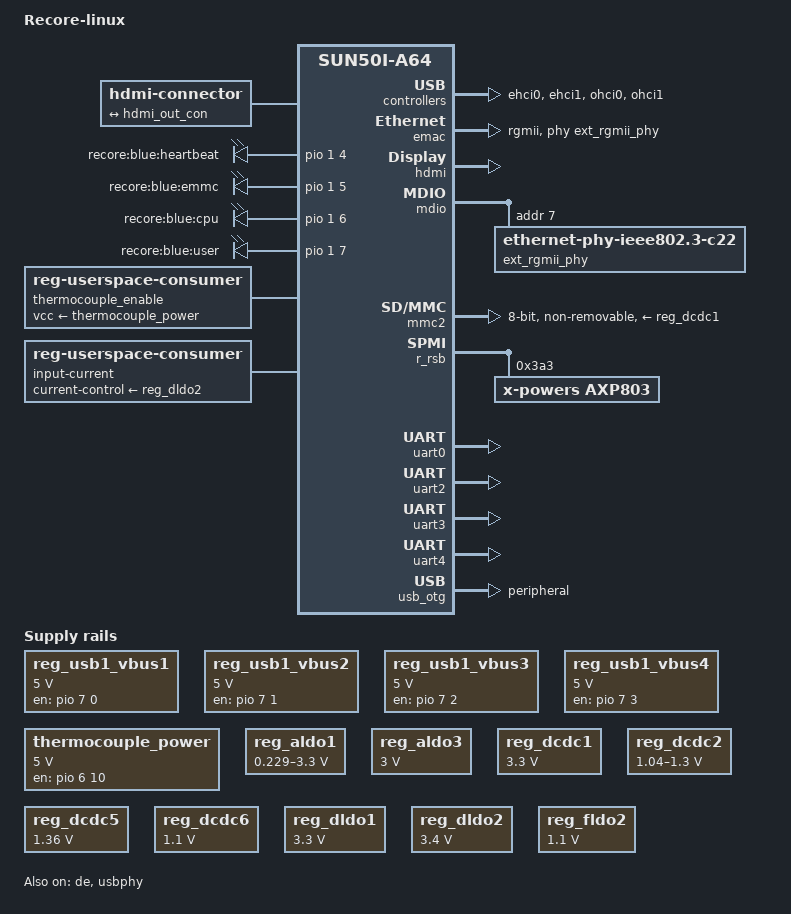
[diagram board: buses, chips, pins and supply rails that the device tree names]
/*
 * Copyright (c) 2016 ARM Ltd.
 *
 * This file is dual-licensed: you can use it either under the terms
 * of the GPL or the X11 license, at your option. Note that this dual
 * licensing only applies to this file, and not this project as a
 * whole.
 *
 *  a) This library is free software; you can redistribute it and/or
 *     modify it under the terms of the GNU General Public License as
 *     published by the Free Software Foundation; either version 2 of the
 *     License, or (at your option) any later version.
 *
 *     This library is distributed in the hope that it will be useful,
 *     but WITHOUT ANY WARRANTY; without even the implied warranty of
 *     MERCHANTABILITY or FITNESS FOR A PARTICULAR PURPOSE.  See the
 *     GNU General Public License for more details.
 *
 * Or, alternatively,
 *
 *  b) Permission is hereby granted, free of charge, to any person
 *     obtaining a copy of this software and associated documentation
 *     files (the "Software"), to deal in the Software without
 *     restriction, including without limitation the rights to use,
 *     copy, modify, merge, publish, distribute, sublicense, and/or
 *     sell copies of the Software, and to permit persons to whom the
 *     Software is furnished to do so, subject to the following
 *     conditions:
 *
 *     The above copyright notice and this permission notice shall be
 *     included in all copies or substantial portions of the Software.
 *
 *     THE SOFTWARE IS PROVIDED "AS IS", WITHOUT WARRANTY OF ANY KIND,
 *     EXPRESS OR IMPLIED, INCLUDING BUT NOT LIMITED TO THE WARRANTIES
 *     OF MERCHANTABILITY, FITNESS FOR A PARTICULAR PURPOSE AND
 *     NONINFRINGEMENT. IN NO EVENT SHALL THE AUTHORS OR COPYRIGHT
 *     HOLDERS BE LIABLE FOR ANY CLAIM, DAMAGES OR OTHER LIABILITY,
 *     WHETHER IN AN ACTION OF CONTRACT, TORT OR OTHERWISE, ARISING
 *     FROM, OUT OF OR IN CONNECTION WITH THE SOFTWARE OR THE USE OR
 *     OTHER DEALINGS IN THE SOFTWARE.
 */

/dts-v1/;

#include "sun50i-a64.dtsi"

#include <dt-bindings/gpio/gpio.h>

/ {
	model = "Recore-linux";
	compatible = "pine64,pine64", "allwinner,sun50i-a64";

	aliases {
		ethernet0 = &emac;
		serial0 = &uart0;
		serial1 = &uart1;
		serial2 = &uart2;
		serial3 = &uart3;
		serial4 = &uart4;
	};

	chosen {
		stdout-path = "serial0:115200n8";
	};

	hdmi-connector {
		compatible = "hdmi-connector";
		type = "a";

		port {
			hdmi_con_in: endpoint {
				remote-endpoint = <&hdmi_out_con>;
			};
		};
	};
  leds {
    compatible = "gpio-leds";

    heartbeat-led {
      label = "recore:blue:heartbeat";
      gpios = <&pio 1 4 GPIO_ACTIVE_HIGH>;
      linux,default-trigger = "heartbeat";
    };

    emmc-led {
      label = "recore:blue:emmc";
      gpios = <&pio 1 5 GPIO_ACTIVE_HIGH>;
      linux,default-trigger = "mmc0";
    };

    cpu-led {
      label = "recore:blue:cpu";
      gpios = <&pio 1 6 GPIO_ACTIVE_HIGH>;
      linux,default-trigger = "cpu1";
      default-state = "on";
    };

    user-led {
      label = "recore:blue:user";
      gpios = <&pio 1 7 GPIO_ACTIVE_HIGH>;
      default-state = "off";
    };
  };

  reg_usb1_vbus1: usb1-vbus1 {
          compatible = "regulator-fixed";
          regulator-name = "usb1-vbus1";
          gpio = <&pio 7 0 GPIO_ACTIVE_HIGH> ; /* PH0 */
          regulator-min-microvolt = <5000000>;
          regulator-max-microvolt = <5000000>;
          regulator-boot-on;
          regulator-always-on;
          enable-active-high;
          status = "okay";
  };

  reg_usb1_vbus2: usb1-vbus2 {
          compatible = "regulator-fixed";
          regulator-name = "usb1-vbus2";
          gpio = <&pio 7 1 GPIO_ACTIVE_HIGH> ; /* PH1 */
          regulator-min-microvolt = <5000000>;
          regulator-max-microvolt = <5000000>;
          regulator-boot-on;
          regulator-always-on;
          enable-active-high;
          status = "okay";
  };

  reg_usb1_vbus3: usb1-vbus3 {
          compatible = "regulator-fixed";
          regulator-name = "usb1-vbus3";
          gpio = <&pio 7 2 GPIO_ACTIVE_HIGH> ;
          regulator-min-microvolt = <5000000>;
          regulator-max-microvolt = <5000000>;
          regulator-boot-on;
          regulator-always-on;
          enable-active-high;
          status = "okay";
  };

  reg_usb1_vbus4: usb1-vbus4 {
          compatible = "regulator-fixed";
          regulator-name = "usb1-vbus4";
          gpio = <&pio 7 3 GPIO_ACTIVE_HIGH> ; /* PH3 */
          regulator-min-microvolt = <5000000>;
          regulator-max-microvolt = <5000000>;
          regulator-boot-on;
          regulator-always-on;
          enable-active-high;
          status = "okay";
  };

  es_power: enable_es_power {
          compatible = "regulator-fixed";
          regulator-name = "endstops-5V";
          gpio = <&pio 6 11 GPIO_ACTIVE_HIGH> ; /* PG11 */
          regulator-min-microvolt = <5000000>;
          regulator-max-microvolt = <5000000>;
          enable-active-high;
          status = "disabled";
  };


  thermocouple_power: thermocouple_power {
          compatible = "regulator-fixed";
          regulator-name = "Thermocouple-5V";
          gpio = <&pio 6 10 GPIO_ACTIVE_HIGH> ; /* PG10 */
          regulator-min-microvolt = <5000000>;
          regulator-max-microvolt = <5000000>;
          enable-active-high;
          status = "okay";
  };

    thermocouple_enable {
        compatible = "reg-userspace-consumer";
        regulator-name = "thermocouple-enable";
        regulator-boot-on;
        regulator-supplies = "vcc";
        vcc-supply = <&thermocouple_power>;
        comment = "Yes";
  };

  input-current {
        compatible = "reg-userspace-consumer";
        regulator-name = "input-current";
	      regulator-boot-on;
	      regulator-supplies = "current-control";
        current-control-supply = <&reg_dldo2>;
        comment = "Board current trip value";
  };
};

&de {
	status = "okay";
};

&ehci0 {
	status = "okay";
};

&ehci1 {
	status = "okay";
};

&emac {
	pinctrl-names = "default";
	pinctrl-0 = <&rgmii_pins>;
	phy-mode = "rgmii";
	phy-handle = <&ext_rgmii_phy>;
	status = "okay";
};

&hdmi {
	hvcc-supply = <&reg_dldo1>;
	status = "okay";
};

&hdmi_out {
	hdmi_out_con: endpoint {
		remote-endpoint = <&hdmi_con_in>;
	};
};


&mdio {
	ext_rgmii_phy: ethernet-phy@1 {
		compatible = "ethernet-phy-ieee802.3-c22";
		reg = <7>;
	};
};


&mmc2 {
	pinctrl-names = "default";
  pinctrl-0 = <&mmc2_pins>, <&mmc2_ds_pin>;
	vmmc-supply = <&reg_dcdc1>;
  vqmmc-supply = <&reg_aldo1>;
  non-removable;
	bus-width = <8>;
  cap-mmc-hw-reset;
  mmc-hs200-1_8v;
  mmc-ddr-3_3v;
  no-sdio;
  max-frequency = <52000000>;
	status = "okay";
};

&ohci0 {
	status = "okay";
};

&ohci1 {
	status = "okay";
};

&r_rsb {
	status = "okay";

	axp803: pmic@3a3 {
		compatible = "x-powers,axp803";
		reg = <0x3a3>;
		interrupt-parent = <&r_intc>;
		interrupts = <0 IRQ_TYPE_LEVEL_LOW>;
	};
};

#include "axp803.dtsi"

&ac_power_supply {
	status = "okay";
};

&battery_power_supply {
	status = "disabled";
};

&reg_aldo1 {
	regulator-always-on;
	regulator-min-microvolt = <0700000>;
	regulator-max-microvolt = <3300000>;
	regulator-name = "vcc-emmc";
};

&reg_aldo3 {
	regulator-always-on;
	regulator-min-microvolt = <3000000>;
	regulator-max-microvolt = <3000000>;
	regulator-name = "vcc-pll-avcc";
};

&reg_dc1sw {
	regulator-name = "vcc-phy";
};

&reg_dcdc1 {
	regulator-always-on;
	regulator-min-microvolt = <3300000>;
	regulator-max-microvolt = <3300000>;
	regulator-name = "vcc-3v3";
};

&reg_dcdc2 {
	regulator-always-on;
	regulator-min-microvolt = <1040000>;
	regulator-max-microvolt = <1300000>;
	regulator-name = "vdd-cpux";
};

/* DCDC3 is polyphased with DCDC2 */

/*
 * The DRAM chips used by Pine64 boards are DDR3L-compatible, so they can
 * work at 1.35V with less power consumption.
 * As AXP803 DCDC5 cannot reach 1.35V accurately, use 1.36V instead.
 */
&reg_dcdc5 {
	regulator-always-on;
	regulator-min-microvolt = <1360000>;
	regulator-max-microvolt = <1360000>;
	regulator-name = "vcc-dram";
};

&reg_dcdc6 {
	regulator-always-on;
	regulator-min-microvolt = <1100000>;
	regulator-max-microvolt = <1100000>;
	regulator-name = "vdd-sys";
};

&reg_dldo1 {
	regulator-min-microvolt = <3300000>;
	regulator-max-microvolt = <3300000>;
	regulator-name = "vcc-hdmi";
};

&reg_dldo2 {
	regulator-min-microvolt = <3400000>;
	regulator-max-microvolt = <3400000>;
	regulator-name = "current-control";
	regulator-always-on;
};

/*
 * The A64 chip cannot work without this regulator off, although
 * it seems to be only driving the AR100 core.
 * Maybe we don't still know well about CPUs domain.
 */
&reg_fldo2 {
	regulator-always-on;
	regulator-min-microvolt = <1100000>;
	regulator-max-microvolt = <1100000>;
	regulator-name = "vdd-cpus";
};

&reg_rtc_ldo {
	regulator-name = "vcc-rtc";
};

&simplefb_hdmi {
	vcc-hdmi-supply = <&reg_dldo1>;
};

/* Debug port */
&uart0 {
	pinctrl-names = "default";
	pinctrl-0 = <&uart0_pb_pins>;
	status = "okay";
};

/* TMC2209 */
&uart2 {
	pinctrl-names = "default";
	pinctrl-0 = <&uart2_pins>;
	status = "okay";
};

/* TMC2209 */
&uart3 {
	pinctrl-names = "default";
	pinctrl-0 = <&uart3_pins>;
	status = "okay";
};

/* uC */
&uart4 {
	pinctrl-names = "default";
	pinctrl-0 = <&uart4_pins>;
	status = "okay";
};

&usb_otg {
	dr_mode = "peripheral";
	status = "okay";
};

&usbphy {
  usb1_vbus-supply = <&reg_usb1_vbus1>, <&reg_usb1_vbus2>, <&reg_usb1_vbus3>, <&reg_usb1_vbus4>;
	status = "okay";
};
